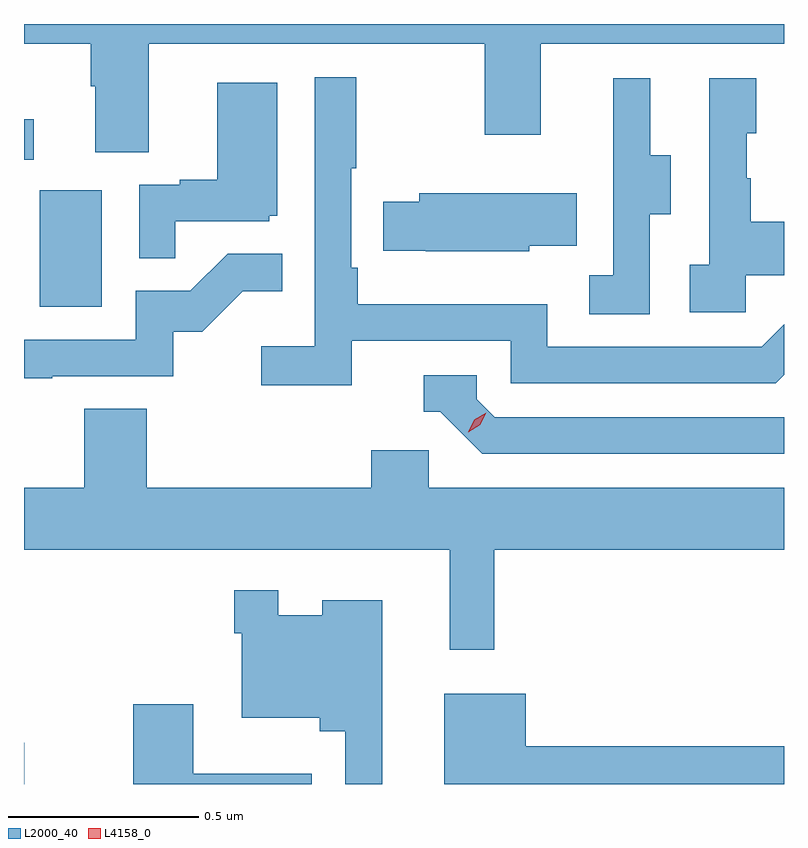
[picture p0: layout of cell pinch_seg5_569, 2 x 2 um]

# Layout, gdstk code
import gdstk
lib = gdstk.Library(unit=1e-6, precision=1e-09)
def R(c, l, rs):  # rectangles x0, y0, x1, y1
    for r in rs: c.add(gdstk.rectangle(r[:2], r[2:], *l))
def P(c, l, *ps):  # polygons
    for p in ps: c.add(gdstk.Polygon(p, *l))
L2000_40 = (2000, 40)
L4158_0 = (4158, 0)

pinch_seg5_569 = lib.new_cell('pinch_seg5_569')
R(pinch_seg5_569, L2000_40, [(965.367,852.148,965.368,852.256), (965.408,853.404,965.572,853.711), (965.367,853.791,965.392,853.897)])
P(pinch_seg5_569, L2000_40, [(965.695,854.096),(966.58,854.096),(966.58,853.857),(966.727,853.857),(966.727,854.096),(967.367,854.096),(967.367,854.148),(965.367,854.148),(965.367,854.096),(965.543,854.096),(965.543,853.984),(965.555,853.984),(965.555,853.81),(965.695,853.81)],
  [(966.23,853.314),(966.648,853.314),(966.648,853.203),(967.345,853.203),(967.367,853.225),(967.367,853.358),(967.308,853.299),(966.744,853.299),(966.744,853.411),(966.245,853.411),(966.245,853.507),(966.228,853.507),(966.228,853.768),(966.241,853.768),(966.241,854.008),(966.132,854.008),(966.132,853.3),(965.991,853.3),(965.991,853.198),(966.23,853.198)],
  [(967.266,853.487),(967.367,853.487),(967.367,853.627),(967.279,853.627),(967.279,853.742),(967.269,853.742),(967.269,853.86),(967.294,853.86),(967.294,854.005),(967.17,854.005),(967.17,853.514),(967.119,853.514),(967.119,853.389),(967.266,853.389)],
  [(967.014,853.648),(967.069,853.648),(967.069,853.803),(967.015,853.803),(967.015,854.005),(966.917,854.005),(966.917,853.791),(966.918,853.791),(966.918,853.487),(966.855,853.487),(966.855,853.384),(967.014,853.384)],
  [(965.765,853.629),(966.012,853.629),(966.012,853.644),(966.034,853.644),(966.034,853.993),(965.876,853.993),(965.876,853.738),(965.777,853.738),(965.777,853.725),(965.67,853.725),(965.67,853.531),(965.765,853.531)],
  [(966.696,853.565),(966.821,853.565),(966.821,853.702),(966.407,853.702),(966.407,853.68),(966.313,853.68),(966.313,853.551),(966.424,853.551),(966.424,853.55),(966.696,853.55)],
  [(965.441,853.221),(965.76,853.221),(965.76,853.338),(965.836,853.338),(965.943,853.445),(966.047,853.445),(966.047,853.544),(965.903,853.544),(965.805,853.446),(965.661,853.446),(965.661,853.317),(965.367,853.317),(965.367,853.216),(965.441,853.216)],
  [(967.367,853.113),(966.606,853.113),(966.558,853.161),(966.558,853.224),(966.419,853.224),(966.419,853.128),(966.462,853.128),(966.573,853.017),(967.367,853.017)],
  [(966.605,852.764),(967.367,852.764),(967.367,852.928),(966.432,852.928),(966.432,853.026),(966.281,853.026),(966.281,852.928),(965.69,852.928),(965.69,853.136),(965.525,853.136),(965.525,852.928),(965.367,852.928),(965.367,852.764),(966.488,852.764),(966.488,852.501),(966.605,852.501)],
  [(966.31,852.631),(966.152,852.631),(966.152,852.592),(966.036,852.592),(966.036,852.658),(965.92,852.658),(965.92,852.545),(965.94,852.545),(965.94,852.323),(966.145,852.323),(966.145,852.287),(966.213,852.287),(966.213,852.148),(966.31,852.148)],
  [(967.367,852.248),(966.688,852.248),(966.688,852.385),(966.473,852.385),(966.473,852.148),(967.367,852.148)],
  [(966.124,852.175),(965.812,852.175),(965.812,852.358),(965.654,852.358),(965.654,852.148),(966.124,852.148)])
P(pinch_seg5_569, L4158_0, [(966.536,853.074),(966.536,853.074),(966.552,853.106),(966.583,853.125),(966.584,853.125),(966.584,853.125),(966.567,853.093),(966.536,853.074)])

lib.write_gds('pinch_seg5_569.gds')
